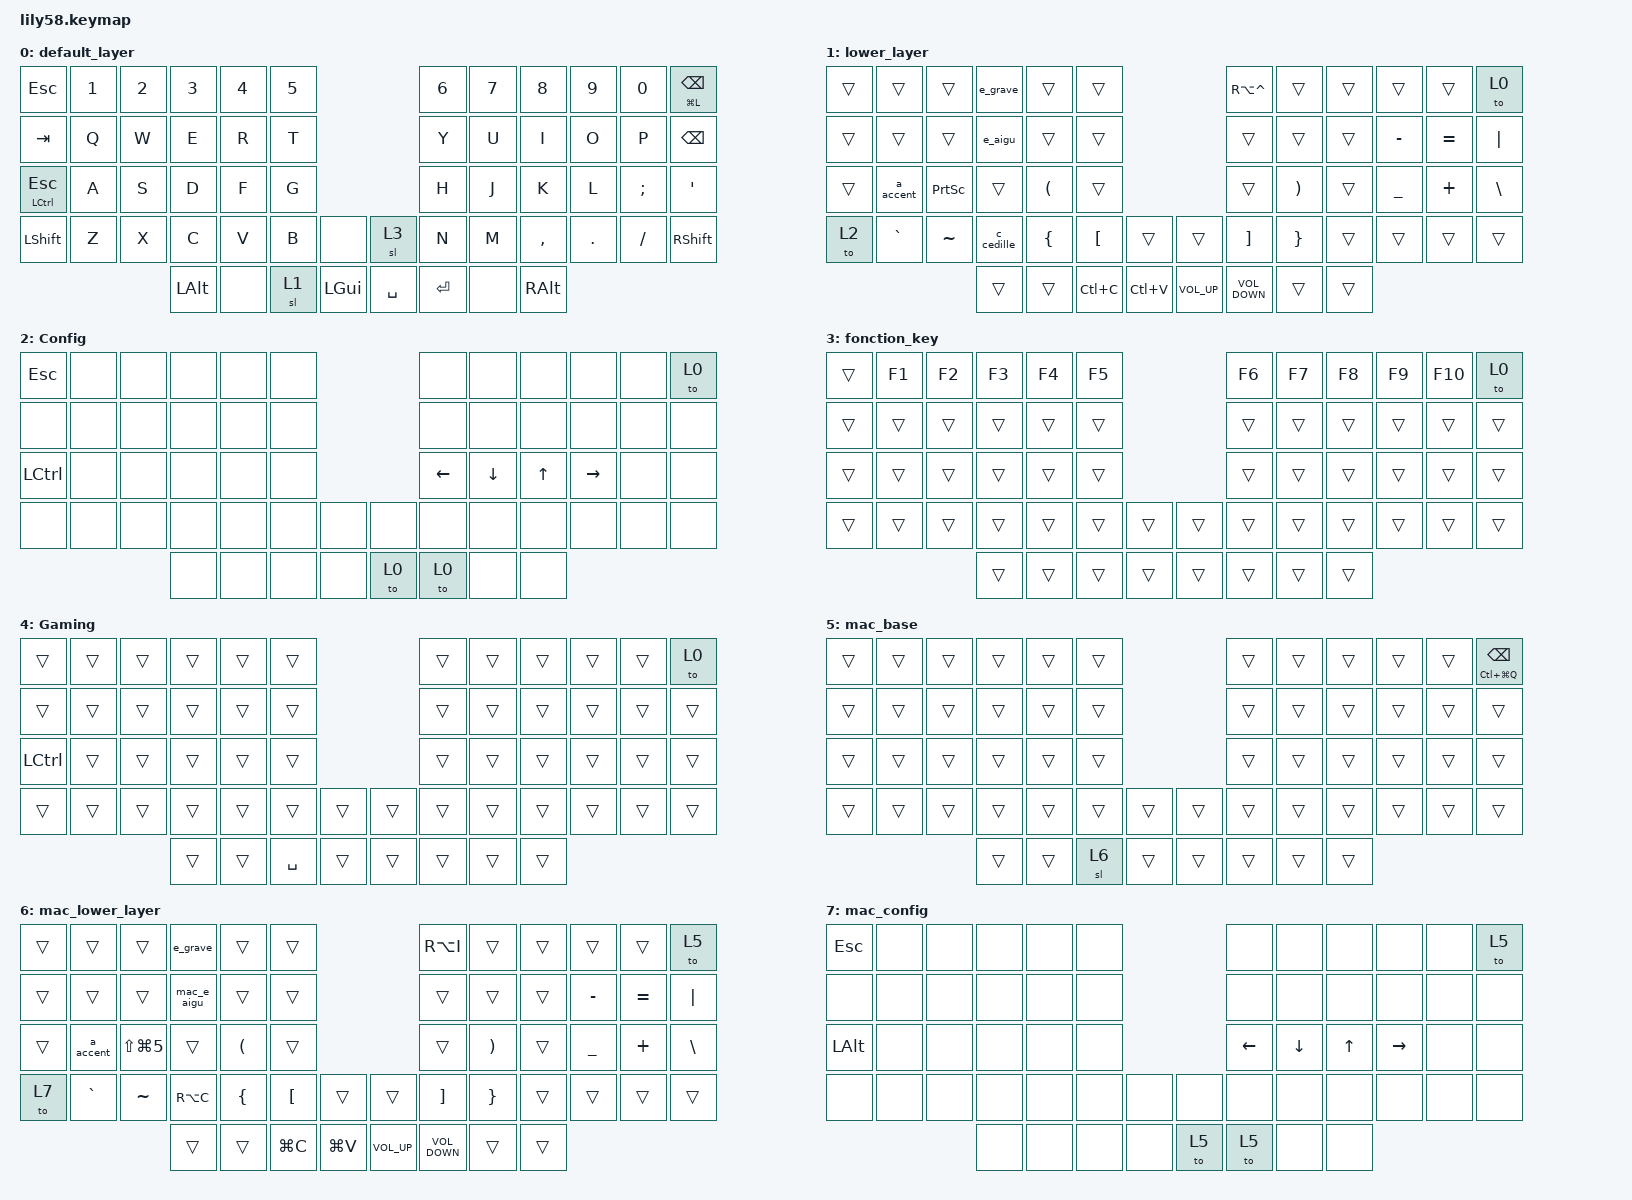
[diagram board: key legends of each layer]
/*
 * Copyright (c) 2020 The ZMK Contributors
 *
 * SPDX-License-Identifier: MIT
 */

#include <behaviors.dtsi>
#include <dt-bindings/zmk/bt.h>
#include <dt-bindings/zmk/keys.h>

/ {
    macros {
        c_cedille: c_cedille {
            compatible = "zmk,behavior-macro";
            #binding-cells = <0>;
            bindings = <&kp RA(COMMA) &kp C>;
            label = "ç";
        };

        a_accent: a_accent {
            compatible = "zmk,behavior-macro";
            #binding-cells = <0>;
            bindings = <&kp RA(GRAVE) &kp A>;
            label = "â";
        };

        e_aigu: e_aigu {
            compatible = "zmk,behavior-macro";
            #binding-cells = <0>;
            bindings = <&kp RA(SINGLE_QUOTE) &kp E>;
            label = "é";
        };

        e_grave: e_grave {
            compatible = "zmk,behavior-macro";
            #binding-cells = <0>;
            bindings = <&kp RA(GRAVE) &kp E>;
            label = "è";
        };

        bt_linux: bt_linux {
            compatible = "zmk,behavior-macro";
            #binding-cells = <0>;
            bindings = <&bt BT_SEL 0 &to 0>;
            label = "BT_LINUX";
        };

        bt_mac1: bt_mac1 {
            compatible = "zmk,behavior-macro";
            #binding-cells = <0>;
            bindings = <&bt BT_SEL 1 &to 5>;
            label = "BT_MAC1";
        };

        bt_mac2: bt_mac2 {
            compatible = "zmk,behavior-macro";
            #binding-cells = <0>;
            bindings = <&bt BT_SEL 2 &to 5>;
            label = "BT_MAC2";
        };

        mac_e_aigu: mac_e_aigu {
            compatible = "zmk,behavior-macro";
            #binding-cells = <0>;
            bindings = <&kp RA(E) &kp E>;
            label = "MAC_E_AIGU";
        };
    };

    combos {
        compatible = "zmk,combos";

        jump_gaming {
            bindings = <&to 4>;
            key-positions = <42 29>;
            layers = <0 1 2>;
        };

        bluetooth1 {
            bindings = <&bt_linux>;
            key-positions = <42 1>;
            layers = <0 5>;
        };

        bluetooth2 {
            bindings = <&bt_mac1>;
            key-positions = <42 2>;
            layers = <0 5>;
        };

        bluetooth3 {
            bindings = <&bt_mac2>;
            key-positions = <42 3>;
            layers = <0 5>;
        };

        bluetooth4 {
            bindings = <&bt BT_SEL 3>;
            key-positions = <42 4>;
            layers = <0 5>;
        };

        bluetooth5 {
            bindings = <&bt BT_SEL 4>;
            key-positions = <42 5>;
            layers = <0 5>;
        };

        bluetooth_clear {
            bindings = <&bt BT_CLR>;
            key-positions = <42 23>;
            layers = <0 5>;
        };
    };

    keymap {
        compatible = "zmk,keymap";

        default_layer {
            // ------------------------------------------------------------------------------------------------------------
            // |  ESC  |  1  |  2  |  3   |  4   |  5   |                   |  6   |  7    |  8    |  9   |   0   |   `   |
            // |  TAB  |  Q  |  W  |  E   |  R   |  T   |                   |  Y   |  U    |  I    |  O   |   P   |   -   |
            // |  CTRL |  A  |  S  |  D   |  F   |  G   |                   |  H   |  J    |  K    |  L   |   ;   |   '   |
            // | SHIFT |  Z  |  X  |  C   |  V   |  B   |   "["  |  |  "]"  |  N   |  M    |  ,    |  .   |   /   | SHIFT |
            //                     | ALT  | GUI  | LOWER|  SPACE |  | ENTER | RAISE| BSPC  | GUI   |

            bindings = <
&kp ESC        &kp N1  &kp N2  &kp N3    &kp N4  &kp N5                         &kp N6     &kp N7  &kp N8     &kp N9   &kp N0    &mt LG(L) BACKSPACE
&kp TAB        &kp Q   &kp W   &kp E     &kp R   &kp T                          &kp Y      &kp U   &kp I      &kp O    &kp P     &kp BACKSPACE
&mt LCTRL ESC  &kp A   &kp S   &kp D     &kp F   &kp G                          &kp H      &kp J   &kp K      &kp L    &kp SEMI  &kp SQT
&kp LSHFT      &kp Z   &kp X   &kp C     &kp V   &kp B   &none       &sl 3      &kp N      &kp M   &kp COMMA  &kp DOT  &kp FSLH  &kp RSHFT
                               &kp LALT  &none   &sl 1   &kp LGUI    &kp SPACE  &kp ENTER  &none   &kp RALT
            >;
        };

        lower_layer {
            // ------------------------------------------------------------------------------------------------------------
            // | BTCLR | BT1 | BT2 |  BT3 |  BT4 |  BT5 |                   |      |       |       |      |       |       |
            // |  F1   |  F2 |  F3 |  F4  |  F5  |  F6  |                   |  F7  |  F8   |  F9   |  F10 |  F11  |  F12  |
            // |   `   |  !  |  @  |  #   |  $   |  %   |                   |  ^   |  &    |  *    |  (   |   )   |   ~   |
            // |       |     |     |      |      |      |        |  |       |      |  _    |  +    |  {   |   }   |  "|"  |
            //                     |      |      |      |        |  |       |      |       |       |

            bindings = <
&trans  &trans     &trans           &e_grave    &trans                &trans                                          &kp RA(CARET)      &trans                 &trans  &trans          &trans     &to 0
&trans  &trans     &trans           &e_aigu     &trans                &trans                                          &trans             &trans                 &trans  &kp MINUS       &kp EQUAL  &kp PIPE
&trans  &a_accent  &kp PRINTSCREEN  &trans      &kp LEFT_PARENTHESIS  &trans                                          &trans             &kp RIGHT_PARENTHESIS  &trans  &kp UNDERSCORE  &kp PLUS   &kp BACKSLASH
&to 2   &kp GRAVE  &kp TILDE        &c_cedille  &kp LEFT_BRACE        &kp LEFT_BRACKET  &trans       &trans           &kp RIGHT_BRACKET  &kp RIGHT_BRACE        &trans  &trans          &trans     &trans
                                    &trans      &trans                &kp LC(C)         &kp LC(V)    &kp C_VOLUME_UP  &kp C_VOLUME_DOWN  &trans                 &trans
            >;
        };

        Config {
            // ------------------------------------------------------------------------------------------------------------
            // |       |     |     |      |      |      |                   |      |       |       |      |       |       |
            // |   `   |  1  |  2  |  3   |  4   |  5   |                   |  6   |   7   |   8   |  9   |   0   |       |
            // |   F1  |  F2 |  F3 |  F4  |  F5  |  F6  |                   |      |   <-  |   v   |  ^   |  ->   |       |
            // |   F7  |  F8 |  F9 |  F10 |  F11 |  F12 |        |  |       |  +   |   -   |   =   |  [   |   ]   |   \   |
            //                     |      |      |      |        |  |       |      |       |       |

            bindings = <
&kp ESC    &none  &none  &none  &none  &none                  &none     &none     &none         &none      &none  &to 0
&none      &none  &none  &none  &none  &none                  &none     &none     &none         &none      &none  &none
&kp LCTRL  &none  &none  &none  &none  &none                  &kp LEFT  &kp DOWN  &kp UP_ARROW  &kp RIGHT  &none  &none
&none      &none  &none  &none  &none  &none  &none    &none  &none     &none     &none         &none      &none  &none
                         &none  &none  &none  &none    &to 0  &to 0     &none     &none
            >;
        };

        fonction_key {
            bindings = <
&trans  &kp F1  &kp F2  &kp F3  &kp F4  &kp F5                    &kp F6  &kp F7  &kp F8  &kp F9  &kp F10  &to 0
&trans  &trans  &trans  &trans  &trans  &trans                    &trans  &trans  &trans  &trans  &trans   &trans
&trans  &trans  &trans  &trans  &trans  &trans                    &trans  &trans  &trans  &trans  &trans   &trans
&trans  &trans  &trans  &trans  &trans  &trans  &trans    &trans  &trans  &trans  &trans  &trans  &trans   &trans
                        &trans  &trans  &trans  &trans    &trans  &trans  &trans  &trans
            >;
        };

        Gaming {
            bindings = <
&trans     &trans  &trans  &trans  &trans  &trans                       &trans  &trans  &trans  &trans  &trans  &to 0
&trans     &trans  &trans  &trans  &trans  &trans                       &trans  &trans  &trans  &trans  &trans  &trans
&kp LCTRL  &trans  &trans  &trans  &trans  &trans                       &trans  &trans  &trans  &trans  &trans  &trans
&trans     &trans  &trans  &trans  &trans  &trans     &trans    &trans  &trans  &trans  &trans  &trans  &trans  &trans
                           &trans  &trans  &kp SPACE  &trans    &trans  &trans  &trans  &trans
            >;
        };

        mac_base {
            bindings = <
&trans  &trans  &trans  &trans  &trans  &trans                    &trans  &trans  &trans  &trans  &trans  &mt LC(LG(Q)) BACKSPACE
&trans  &trans  &trans  &trans  &trans  &trans                    &trans  &trans  &trans  &trans  &trans  &trans
&trans  &trans  &trans  &trans  &trans  &trans                    &trans  &trans  &trans  &trans  &trans  &trans
&trans  &trans  &trans  &trans  &trans  &trans  &trans    &trans  &trans  &trans  &trans  &trans  &trans  &trans
                        &trans  &trans  &sl 6   &trans    &trans  &trans  &trans  &trans
            >;
        };

        mac_lower_layer {
            bindings = <
&trans  &trans     &trans          &e_grave     &trans                &trans                                          &kp RA(I)          &trans                 &trans  &trans          &trans     &to 5
&trans  &trans     &trans          &mac_e_aigu  &trans                &trans                                          &trans             &trans                 &trans  &kp MINUS       &kp EQUAL  &kp PIPE
&trans  &a_accent  &kp LS(LG(N5))  &trans       &kp LEFT_PARENTHESIS  &trans                                          &trans             &kp RIGHT_PARENTHESIS  &trans  &kp UNDERSCORE  &kp PLUS   &kp BACKSLASH
&to 7   &kp GRAVE  &kp TILDE       &kp RA(C)    &kp LEFT_BRACE        &kp LEFT_BRACKET  &trans       &trans           &kp RIGHT_BRACKET  &kp RIGHT_BRACE        &trans  &trans          &trans     &trans
                                   &trans       &trans                &kp LG(C)         &kp LG(V)    &kp C_VOLUME_UP  &kp C_VOLUME_DOWN  &trans                 &trans
            >;
        };

        mac_config {
            bindings = <
&kp ESC   &none  &none  &none  &none  &none                  &none     &none     &none         &none      &none  &to 5
&none     &none  &none  &none  &none  &none                  &none     &none     &none         &none      &none  &none
&kp LALT  &none  &none  &none  &none  &none                  &kp LEFT  &kp DOWN  &kp UP_ARROW  &kp RIGHT  &none  &none
&none     &none  &none  &none  &none  &none  &none    &none  &none     &none     &none         &none      &none  &none
                        &none  &none  &none  &none    &to 5  &to 5     &none     &none
            >;
        };
    };
};
